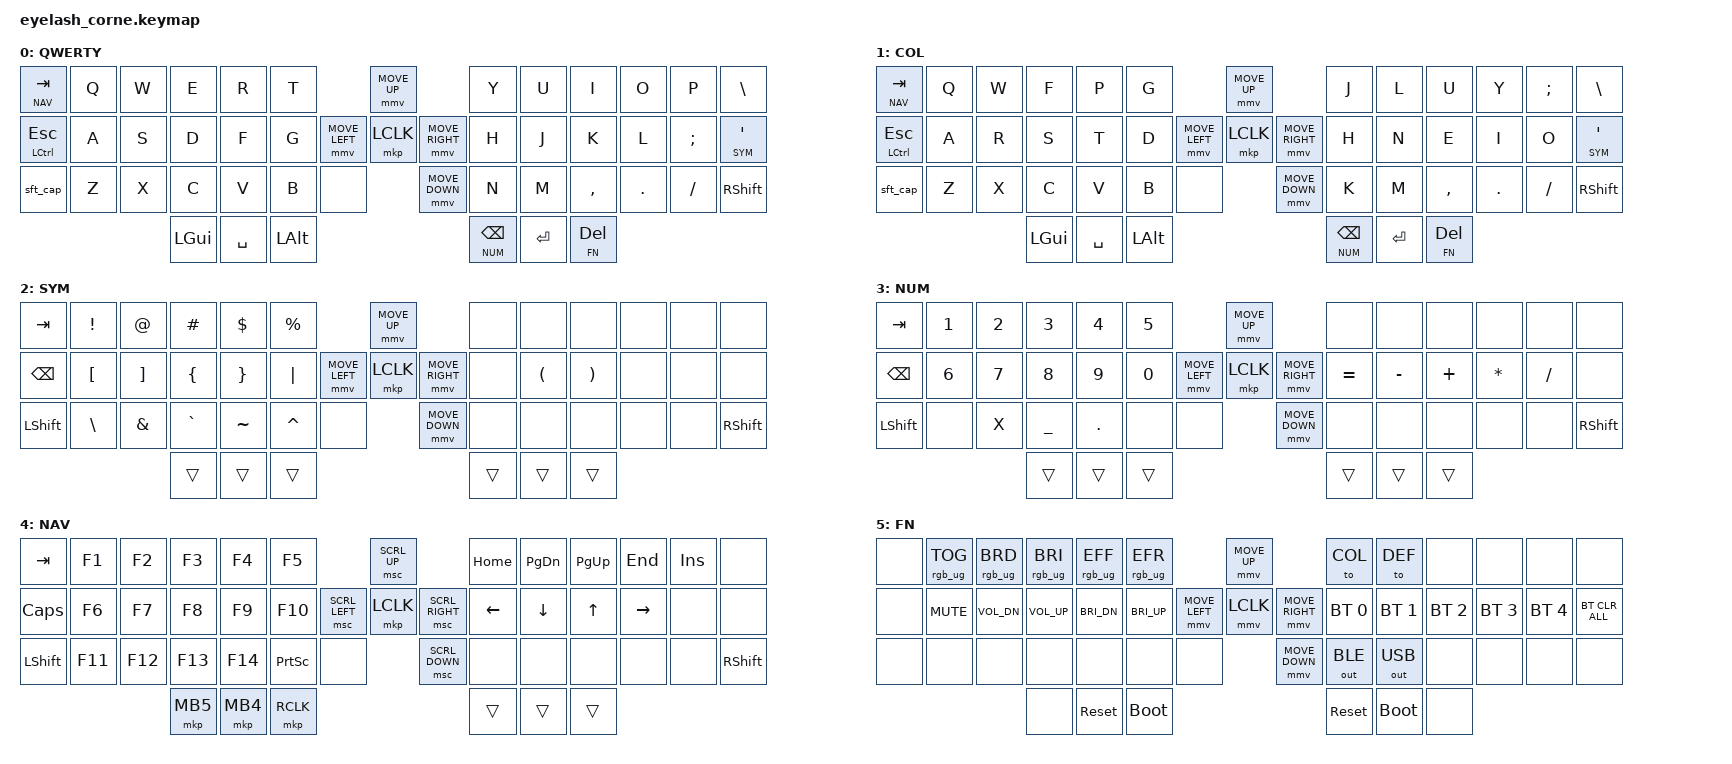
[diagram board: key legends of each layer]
#define ZMK_POINTING_DEFAULT_MOVE_VAL 1200  // 600
#define ZMK_POINTING_DEFAULT_SCRL_VAL 50   // 10

#include <input/processors.dtsi>
#include <zephyr/dt-bindings/input/input-event-codes.h>
#include <behaviors.dtsi>
#include <dt-bindings/zmk/bt.h>
#include <dt-bindings/zmk/keys.h>
#include <dt-bindings/zmk/outputs.h>
#include <dt-bindings/zmk/pointing.h>
#include <dt-bindings/zmk/rgb.h>

&mmv_input_listener { input-processors = <&zip_xy_scaler 2 1>; };

&msc_input_listener { input-processors = <&zip_scroll_scaler 2 1>; };

&msc {
    acceleration-exponent = <1>;      // 0
    time-to-max-speed-ms = <300>;       // 300
    delay-ms = <0>;                   // 0
};

&mmv {
    time-to-max-speed-ms = <800>;
    acceleration-exponent = <1>;
    trigger-period-ms = <16>;
};

#define DEF 0
#define COL 1
#define SYM 2
#define NUM 3
#define NAV 4
#define FN  5
#define MSE 6

/ {
    behaviors {
        sft_cap: tap_dance_0 {
            compatible = "zmk,behavior-tap-dance";
            display-name = "Shift/Caps Lock Tap Dance";
            #binding-cells = <0>;
            bindings = <&kp LEFT_SHIFT>, <&kp CAPS>;
        };
    };

    keymap {
      compatible = "zmk,keymap";

      default_layer {
        display-name = "QWERTY";
        bindings = <
&lt NAV TAB    &kp Q    &kp W    &kp E    &kp R    &kp T                      &mmv MOVE_UP                 &kp Y    &kp U    &kp I     &kp O    &kp P     &kp BSLH
&mt LCTRL ESC  &kp A    &kp S    &kp D    &kp F    &kp G       &mmv MOVE_LEFT &mkp LCLK    &mmv MOVE_RIGHT &kp H    &kp J    &kp K     &kp L    &kp SEMI  &lt SYM SQT
&sft_cap       &kp Z    &kp X    &kp C    &kp V    &kp B  &none               &mmv MOVE_DOWN               &kp N    &kp M    &kp COMMA &kp DOT  &kp FSLH  &kp RSHIFT
                                 &kp LGUI &kp SPACE &kp LALT                                               &lt NUM BSPC &kp ENTER &lt FN DEL
        >;
      };

      colmak_layer {
        display-name = "COL";
        bindings = <
&lt NAV TAB    &kp Q    &kp W    &kp F    &kp P    &kp G                      &mmv MOVE_UP                 &kp J    &kp L    &kp U     &kp Y    &kp SEMI  &kp BSLH
&mt LCTRL ESC  &kp A    &kp R    &kp S    &kp T    &kp D       &mmv MOVE_LEFT &mkp LCLK    &mmv MOVE_RIGHT &kp H    &kp N    &kp E     &kp I    &kp O     &lt SYM SQT
&sft_cap       &kp Z    &kp X    &kp C    &kp V    &kp B  &none               &mmv MOVE_DOWN               &kp K    &kp M    &kp COMMA &kp DOT  &kp FSLH  &kp RSHIFT
                                 &kp LGUI &kp SPACE &kp LALT                                               &lt NUM BSPC &kp ENTER &lt FN DEL
        >;
      };

      symbol_layer {
        display-name = "SYM";
        bindings = <
&kp TAB    &kp EXCL &kp AT   &kp POUND &kp DLLR  &kp PRCNT                      &mmv MOVE_UP                 &none    &none    &none    &none    &none    &none
&kp BSPC   &kp LBKT &kp RBKT &kp LBRC  &kp RBRC  &kp PIPE        &mmv MOVE_LEFT &mkp LCLK    &mmv MOVE_RIGHT &none    &kp LPAR &kp RPAR &none    &none    &none
&kp LSHIFT &kp BSLH &kp AMPS &kp GRAVE &kp TILDE &kp CARET  &none               &mmv MOVE_DOWN               &none    &none    &none    &none    &none    &kp RSHIFT
                             &trans    &trans    &trans                                                      &trans   &trans   &trans
        >;
      };

      num_layer {
        display-name = "NUM";
        bindings = <
&kp TAB    &kp N1   &kp N2   &kp N3   &kp N4   &kp N5                      &mmv MOVE_UP                 &none    &none    &none    &none    &none    &none
&kp BSPC   &kp N6   &kp N7   &kp N8   &kp N9   &kp N0       &mmv MOVE_LEFT &mkp LCLK    &mmv MOVE_RIGHT &kp EQUAL &kp MINUS &kp PLUS &kp STAR &kp FSLH &none
&kp LSHIFT &none    &kp X    &kp UNDER &kp DOT &none   &none               &mmv MOVE_DOWN               &none    &none    &none    &none    &none    &kp RSHIFT
                             &trans   &trans   &trans                                                   &trans   &trans   &trans
        >;
      };

      nav_layer {
        display-name = "NAV";
        bindings = <
&kp TAB    &kp F1   &kp F2   &kp F3   &kp F4   &kp F5                        &msc SCRL_UP                 &kp HOME &kp PG_DN &kp PG_UP &kp END  &kp INS  &none
&kp CAPS   &kp F6   &kp F7   &kp F8   &kp F9   &kp F10        &msc SCRL_LEFT &mkp LCLK    &msc SCRL_RIGHT &kp LEFT &kp DOWN  &kp UP    &kp RIGHT &none   &none
&kp LSHIFT &kp F11  &kp F12  &kp F13  &kp F14  &kp PSCRN &none               &msc SCRL_DOWN               &none    &none     &none     &none    &none    &kp RSHIFT
                             &mkp MB5 &mkp MB4 &mkp RCLK                                                  &trans   &trans    &trans
        >;
      };

      fn_layer {
        display-name = "FN";
        bindings = <
&none   &rgb_ug RGB_TOG &rgb_ug RGB_BRD  &rgb_ug RGB_BRI &rgb_ug RGB_EFF &rgb_ug RGB_EFR   &mmv MOVE_UP                         &to COL      &to DEF      &none        &none        &none        &none
&none   &kp C_MUTE &kp C_VOL_DN &kp C_VOL_UP &kp C_BRI_DN &kp C_BRI_UP      &mmv MOVE_LEFT &mmv LCLK    &mmv MOVE_RIGHT         &bt BT_SEL 0 &bt BT_SEL 1 &bt BT_SEL 2 &bt BT_SEL 3 &bt BT_SEL 4 &bt BT_CLR_ALL
&none   &none      &none        &none        &none        &none        &none               &mmv MOVE_DOWN                       &out OUT_BLE &out OUT_USB &none        &none        &none        &none
                                &none        &sys_reset   &bootloader                                                           &sys_reset   &bootloader  &none
        >;
      };
    };
};
